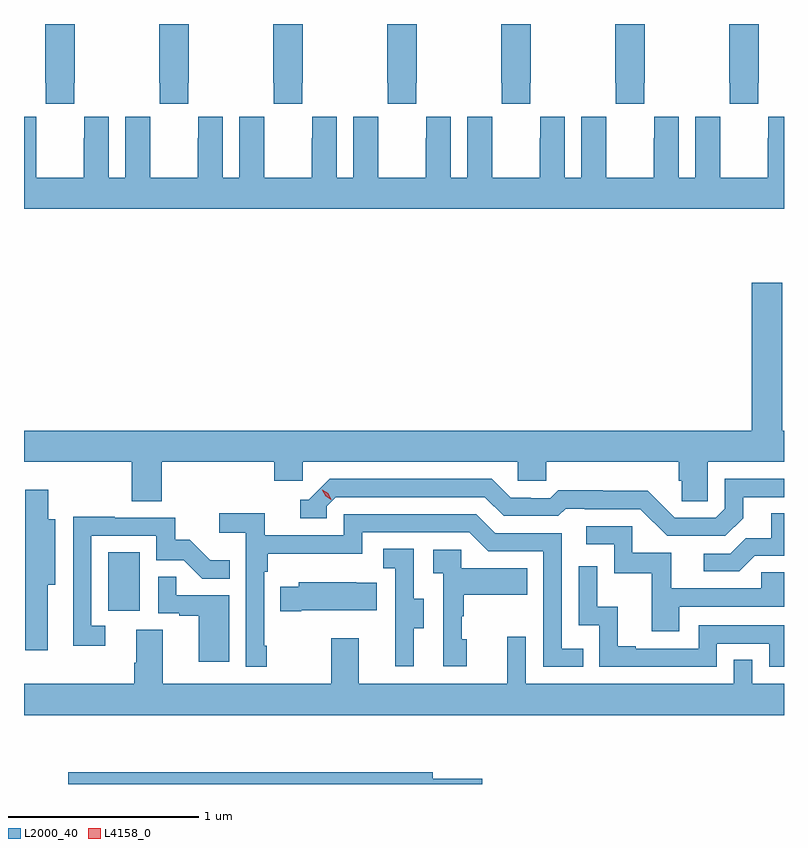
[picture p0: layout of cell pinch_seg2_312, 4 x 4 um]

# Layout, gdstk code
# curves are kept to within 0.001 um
import gdstk
lib = gdstk.Library(unit=1e-6, precision=1e-09)
def R(c, l, rs):  # rectangles x0, y0, x1, y1
    for r in rs: c.add(gdstk.rectangle(r[:2], r[2:], *l))
def P(c, l, *ps):  # polygons
    for p in ps: c.add(gdstk.Polygon(p, *l))
L2000_40 = (2000, 40)
L4158_0 = (4158, 0)

pinch_seg2_312 = lib.new_cell('pinch_seg2_312')
R(pinch_seg2_312, L2000_40, [(888.818,641.526,888.982,641.833)])
P(pinch_seg2_312, L2000_40, [(892.239,644.305),(892.242,644.305),(892.242,644.613),(892.087,644.613),(892.087,644.305),(892.089,644.305),(892.089,644.193),(892.239,644.193)],
  [(891.639,644.305),(891.642,644.305),(891.642,644.613),(891.487,644.613),(891.487,644.305),(891.489,644.305),(891.489,644.193),(891.639,644.193)],
  [(891.039,644.305),(891.042,644.305),(891.042,644.613),(890.887,644.613),(890.887,644.305),(890.889,644.305),(890.889,644.193),(891.039,644.193)],
  [(890.439,644.305),(890.442,644.305),(890.442,644.613),(890.287,644.613),(890.287,644.305),(890.289,644.305),(890.289,644.193),(890.439,644.193)],
  [(889.839,644.305),(889.842,644.305),(889.842,644.613),(889.687,644.613),(889.687,644.305),(889.689,644.305),(889.689,644.193),(889.839,644.193)],
  [(889.239,644.305),(889.242,644.305),(889.242,644.613),(889.087,644.613),(889.087,644.305),(889.089,644.305),(889.089,644.193),(889.239,644.193)],
  [(888.639,644.305),(888.642,644.305),(888.642,644.613),(888.487,644.613),(888.487,644.305),(888.489,644.305),(888.489,644.193),(888.639,644.193)],
  [(890.108,644.125),(890.108,643.804),(890.02,643.804),(890.02,644.125),(889.89,644.125),(889.89,644.012),(889.889,644.012),(889.889,643.804),(889.639,643.804),(889.639,644.012),(889.638,644.012),(889.638,644.125),(889.508,644.125),(889.508,643.804),(889.42,643.804),(889.42,644.125),(889.29,644.125),(889.29,644.012),(889.289,644.012),(889.289,643.804),(889.039,643.804),(889.039,644.012),(889.038,644.012),(889.038,644.125),(888.908,644.125),(888.908,643.804),(888.82,643.804),(888.82,644.125),(888.69,644.125),(888.69,644.012),(888.689,644.012),(888.689,643.804),(888.439,643.804),(888.439,644.012),(888.438,644.012),(888.438,644.125),(888.374,644.125),(888.374,643.64),(892.374,643.64),(892.374,644.125),(892.29,644.125),(892.29,644.012),(892.289,644.012),(892.289,643.804),(892.039,643.804),(892.039,644.012),(892.038,644.012),(892.038,644.125),(891.908,644.125),(891.908,643.804),(891.82,643.804),(891.82,644.125),(891.69,644.125),(891.69,644.012),(891.689,644.012),(891.689,643.804),(891.439,643.804),(891.439,644.012),(891.438,644.012),(891.438,644.125),(891.308,644.125),(891.308,643.804),(891.22,643.804),(891.22,644.125),(891.09,644.125),(891.09,644.012),(891.089,644.012),(891.089,643.804),(890.839,643.804),(890.839,644.012),(890.838,644.012),(890.838,644.125),(890.708,644.125),(890.708,643.804),(890.62,643.804),(890.62,644.125),(890.49,644.125),(890.49,644.012),(890.489,644.012),(890.489,643.804),(890.239,643.804),(890.239,644.012),(890.238,644.012),(890.238,644.125)],
  [(889.1,642.308),(889.691,642.308),(889.691,642.21),(889.842,642.21),(889.842,642.308),(890.973,642.308),(890.973,642.21),(891.123,642.21),(891.123,642.308),(891.821,642.308),(891.821,642.21),(891.835,642.21),(891.835,642.1),(891.972,642.1),(891.972,642.308),(892.374,642.308),(892.374,642.472),(892.365,642.472),(892.365,643.252),(892.205,643.252),(892.205,642.472),(888.374,642.472),(888.374,642.308),(888.94,642.308),(888.94,642.1),(889.1,642.1)],
  [(892.159,642.013),(892.159,642.123),(892.374,642.123),(892.374,642.219),(892.062,642.219),(892.062,642.063),(892.014,642.015),(891.798,642.015),(891.656,642.157),(891.42,642.157),(891.42,642.16),(891.187,642.16),(891.145,642.117),(891.042,642.117),(891.042,642.12),(890.935,642.12),(890.836,642.219),(889.983,642.219),(889.872,642.108),(889.829,642.108),(889.829,642.012),(889.968,642.012),(889.968,642.075),(890.016,642.123),(890.799,642.123),(890.898,642.024),(891.187,642.024),(891.226,642.063),(891.325,642.063),(891.325,642.06),(891.618,642.06),(891.759,641.919),(892.065,641.919)],
  [(888.499,641.663),(888.538,641.663),(888.538,642.007),(888.502,642.007),(888.502,642.163),(888.38,642.163),(888.38,641.316),(888.499,641.316)],
  [(889.651,641.341),(889.638,641.341),(889.638,641.729),(889.658,641.729),(889.658,641.825),(890.154,641.825),(890.154,641.937),(890.718,641.937),(890.817,641.838),(891.108,641.838),(891.108,641.229),(891.317,641.229),(891.317,641.325),(891.204,641.325),(891.204,641.934),(890.854,641.934),(890.755,642.033),(890.058,642.033),(890.058,641.922),(889.64,641.922),(889.64,642.038),(889.401,642.038),(889.401,641.936),(889.542,641.936),(889.542,641.229),(889.651,641.229)],
  [(892.219,641.814),(892.374,641.814),(892.374,642.038),(892.307,642.038),(892.307,641.906),(892.172,641.906),(892.092,641.826),(891.951,641.826),(891.951,641.733),(892.138,641.733)],
  [(888.802,641.445),(888.729,641.445),(888.729,641.919),(889.071,641.919),(889.071,641.79),(889.215,641.79),(889.313,641.692),(889.457,641.692),(889.457,641.791),(889.353,641.791),(889.246,641.898),(889.17,641.898),(889.17,642.015),(888.851,642.015),(888.851,642.02),(888.633,642.02),(888.632,641.34),(888.802,641.34)],
  [(891.823,641.547),(892.374,641.547),(892.374,641.727),(892.255,641.727),(892.255,641.643),(891.781,641.643),(891.781,641.829),(891.576,641.829),(891.576,641.97),(891.333,641.97),(891.333,641.874),(891.48,641.874),(891.48,641.721),(891.679,641.721),(891.679,641.418),(891.823,641.418)],
  [(890.425,641.434),(890.479,641.434),(890.479,641.589),(890.424,641.589),(890.424,641.852),(890.265,641.852),(890.265,641.749),(890.328,641.749),(890.328,641.445),(890.327,641.445),(890.327,641.232),(890.425,641.232)],
  [(890.704,641.376),(890.679,641.376),(890.679,641.495),(890.689,641.495),(890.689,641.609),(891.023,641.609),(891.023,641.749),(890.676,641.749),(890.676,641.847),(890.529,641.847),(890.529,641.723),(890.58,641.723),(890.58,641.232),(890.704,641.232)],
  [(892.02,641.352),(892.296,641.352),(892.296,641.229),(892.374,641.229),(892.374,641.448),(891.924,641.448),(891.924,641.325),(891.595,641.325),(891.595,641.338),(891.5,641.338),(891.5,641.546),(891.39,641.546),(891.39,641.758),(891.294,641.758),(891.294,641.448),(891.402,641.448),(891.402,641.229),(892.02,641.229)],
  [(889.453,641.607),(889.175,641.607),(889.175,641.705),(889.08,641.705),(889.08,641.511),(889.191,641.511),(889.191,641.499),(889.295,641.499),(889.295,641.256),(889.453,641.256)],
  [(889.834,641.528),(890.231,641.528),(890.231,641.671),(890.123,641.671),(890.123,641.674),(889.821,641.674),(889.821,641.65),(889.723,641.65),(889.723,641.521),(889.834,641.521)],
  [(892.374,641.14),(892.206,641.14),(892.206,641.267),(892.11,641.267),(892.11,641.14),(891.015,641.14),(891.015,641.389),(890.918,641.389),(890.918,641.14),(890.137,641.14),(890.137,641.38),(889.99,641.38),(889.99,641.14),(889.105,641.14),(889.105,641.426),(888.965,641.426),(888.965,641.252),(888.953,641.252),(888.953,641.14),(888.374,641.14),(888.374,640.976),(892.374,640.976)],
  [(890.785,640.641),(890.524,640.641),(890.524,640.675),(888.608,640.675),(888.608,640.613),(890.785,640.613)])
P(pinch_seg2_312, L4158_0, [(889.992,642.109),(889.961,642.128),(889.944,642.16),(889.944,642.161),(889.945,642.161),(889.976,642.142),(889.992,642.11),(889.992,642.109)])

lib.write_gds('pinch_seg2_312.gds')
